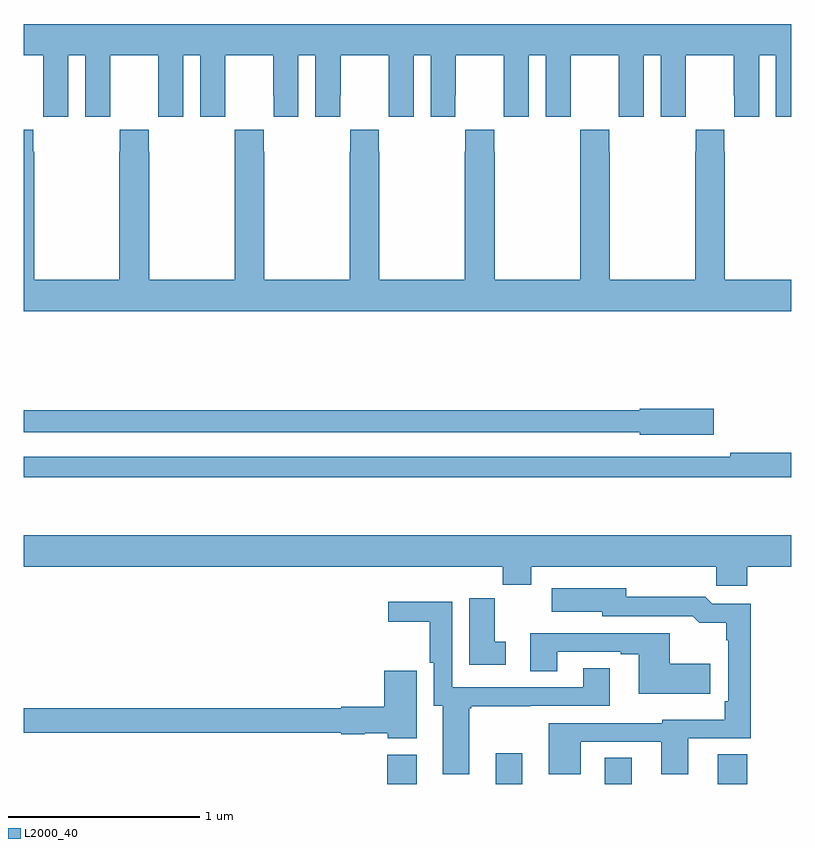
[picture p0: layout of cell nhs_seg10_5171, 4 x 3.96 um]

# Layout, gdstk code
import gdstk
lib = gdstk.Library(unit=1e-6, precision=1e-09)
def R(c, l, rs):  # rectangles x0, y0, x1, y1
    for r in rs: c.add(gdstk.rectangle(r[:2], r[2:], *l))
def P(c, l, *ps):  # polygons
    for p in ps: c.add(gdstk.Polygon(p, *l))
L2000_40 = (2000, 40)

nhs_seg10_5171 = lib.new_cell('nhs_seg10_5171')
R(nhs_seg10_5171, L2000_40, [(412.895,1316.5,413.047,1316.653), (413.459,1316.5,413.599,1316.659), (414.029,1316.5,414.169,1316.636), (414.617,1316.5,414.77,1316.654)])
P(nhs_seg10_5171, L2000_40, [(411,1320.296),(411.101,1320.296),(411.101,1320.088),(411.102,1320.088),(411.102,1319.976),(411.232,1319.976),(411.232,1320.296),(411.32,1320.296),(411.32,1319.976),(411.45,1319.976),(411.45,1320.088),(411.451,1320.088),(411.451,1320.296),(411.701,1320.296),(411.701,1320.088),(411.702,1320.088),(411.702,1319.976),(411.832,1319.976),(411.832,1320.296),(411.92,1320.296),(411.92,1319.976),(412.05,1319.976),(412.05,1320.088),(412.051,1320.088),(412.051,1320.296),(412.301,1320.296),(412.301,1320.088),(412.302,1320.088),(412.302,1319.976),(412.432,1319.976),(412.432,1320.296),(412.52,1320.296),(412.52,1319.976),(412.65,1319.976),(412.65,1320.088),(412.651,1320.088),(412.651,1320.296),(412.901,1320.296),(412.901,1320.088),(412.902,1320.088),(412.902,1319.976),(413.032,1319.976),(413.032,1320.296),(413.12,1320.296),(413.12,1319.976),(413.25,1319.976),(413.25,1320.088),(413.251,1320.088),(413.251,1320.296),(413.501,1320.296),(413.501,1320.088),(413.502,1320.088),(413.502,1319.976),(413.632,1319.976),(413.632,1320.296),(413.72,1320.296),(413.72,1319.976),(413.85,1319.976),(413.85,1320.088),(413.851,1320.088),(413.851,1320.296),(414.101,1320.296),(414.101,1320.088),(414.102,1320.088),(414.102,1319.976),(414.232,1319.976),(414.232,1320.296),(414.32,1320.296),(414.32,1319.976),(414.45,1319.976),(414.45,1320.088),(414.451,1320.088),(414.451,1320.296),(414.701,1320.296),(414.701,1320.088),(414.702,1320.088),(414.702,1319.976),(414.832,1319.976),(414.832,1320.296),(414.92,1320.296),(414.92,1319.976),(415,1319.976),(415,1320.46),(411,1320.46)],
  [(412.101,1319.908),(412.101,1319.795),(412.099,1319.795),(412.099,1319.128),(411.654,1319.128),(411.654,1319.795),(411.651,1319.795),(411.651,1319.908),(411.501,1319.908),(411.501,1319.795),(411.499,1319.795),(411.499,1319.128),(411.054,1319.128),(411.054,1319.795),(411.051,1319.795),(411.051,1319.908),(411,1319.908),(411,1318.964),(415,1318.964),(415,1319.128),(414.654,1319.128),(414.654,1319.795),(414.651,1319.795),(414.651,1319.908),(414.501,1319.908),(414.501,1319.795),(414.499,1319.795),(414.499,1319.128),(414.054,1319.128),(414.054,1319.795),(414.051,1319.795),(414.051,1319.908),(413.901,1319.908),(413.901,1319.795),(413.899,1319.795),(413.899,1319.128),(413.454,1319.128),(413.454,1319.795),(413.451,1319.795),(413.451,1319.908),(413.301,1319.908),(413.301,1319.795),(413.299,1319.795),(413.299,1319.128),(412.854,1319.128),(412.854,1319.795),(412.851,1319.795),(412.851,1319.908),(412.701,1319.908),(412.701,1319.795),(412.699,1319.795),(412.699,1319.128),(412.254,1319.128),(412.254,1319.795),(412.251,1319.795),(412.251,1319.908)],
  [(414.595,1318.454),(414.21,1318.454),(414.21,1318.448),(411,1318.448),(411,1318.332),(414.21,1318.332),(414.21,1318.319),(414.595,1318.319)],
  [(415,1318.226),(414.682,1318.226),(414.682,1318.206),(411,1318.206),(411,1318.098),(415,1318.098)],
  [(414.77,1317.632),(415,1317.632),(415,1317.796),(411,1317.796),(411,1317.632),(413.497,1317.632),(413.497,1317.537),(413.644,1317.537),(413.644,1317.632),(414.61,1317.632),(414.61,1317.534),(414.77,1317.534)],
  [(413.902,1316.721),(414.323,1316.721),(414.323,1316.55),(414.463,1316.55),(414.463,1316.739),(414.788,1316.739),(414.788,1317.438),(414.588,1317.438),(414.551,1317.475),(414.139,1317.475),(414.139,1317.52),(413.751,1317.52),(413.751,1317.398),(414.015,1317.398),(414.015,1317.375),(414.41,1317.375),(414.41,1317.373),(414.487,1317.373),(414.519,1317.341),(414.66,1317.341),(414.66,1317.248),(414.672,1317.248),(414.672,1316.932),(414.652,1316.932),(414.652,1316.836),(414.327,1316.836),(414.327,1316.817),(413.735,1316.817),(413.735,1316.55),(413.902,1316.55)],
  [(413.512,1317.24),(413.455,1317.24),(413.455,1317.467),(413.321,1317.467),(413.321,1317.122),(413.512,1317.122)],
  [(413.323,1316.895),(413.331,1316.895),(413.331,1316.905),(413.639,1316.905),(413.639,1316.907),(414.055,1316.907),(414.055,1317.104),(413.915,1317.104),(413.915,1317.003),(413.232,1317.003),(413.232,1317.449),(412.899,1317.449),(412.899,1317.346),(413.117,1317.346),(413.117,1317.132),(413.136,1317.132),(413.136,1316.907),(413.183,1316.907),(413.183,1316.55),(413.323,1316.55)],
  [(414.577,1317.127),(414.367,1317.127),(414.367,1317.285),(413.639,1317.285),(413.639,1317.088),(413.779,1317.088),(413.779,1317.189),(414.11,1317.189),(414.11,1317.177),(414.206,1317.177),(414.206,1316.969),(414.577,1316.969)],
  [(413.047,1317.091),(412.88,1317.091),(412.88,1316.902),(412.656,1316.902),(412.656,1316.894),(411,1316.894),(411,1316.766),(412.656,1316.766),(412.656,1316.758),(412.776,1316.758),(412.776,1316.765),(412.896,1316.765),(412.896,1316.738),(413.047,1316.738)])

lib.write_gds('nhs_seg10_5171.gds')
